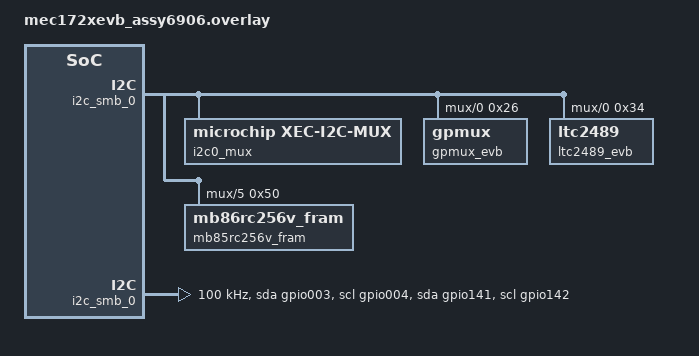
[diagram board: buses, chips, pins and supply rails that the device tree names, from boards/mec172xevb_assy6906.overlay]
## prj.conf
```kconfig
# Enable config log
CONFIG_STDOUT_CONSOLE=y
CONFIG_LOG=y

CONFIG_I2C=y

CONFIG_PM=n

# Zephyr debug disables optimizations
CONFIG_DEBUG=y
```

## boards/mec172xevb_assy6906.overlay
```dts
/*
 * Example device tree overlay for XEC I2C internal port mux.
 *
 * This overlay demonstrates how to configure the XEC SMB controller's
 * internal PORT_SEL multiplexer using the Zephyr I2C mux subsystem.
 *
 * Each mux_portN child node becomes a standard I2C bus device that
 * applications reference via DEVICE_DT_GET() or I2C_DT_SPEC_GET().
 */

/* Parent XEC I2C controller (SMB0) */
&i2c_smb_0 {
	compatible = "microchip,xec-i2c-v2";
	status = "okay";
	clock-frequency = <100000>;
	port-sel = <2>;

	/* MEC172x has v3.7 I2C controller. It does not support live view of SCL/SDA pin states.
	 * The driver requires phandles to the GPIO pins for SCL and SDA.
	 * PINCTRL driver enables input pad when configuring a pin for alternate function.
	 * I2C driver makes calls to the GPIO driver to read live pin input state.
	 * NOTE, these two pins should match the controller port-sel value.
	 * The MUX driver passes its SCL/SDA handles to the I2C driver.
	 */
	/*
	sda-gpios = <MCHP_GPIO_DECODE_003 GPIO_OPEN_DRAIN>;
	scl-gpios = <MCHP_GPIO_DECODE_004 GPIO_OPEN_DRAIN>;
	*/
	sda-gpios = <MCHP_GPIO_DECODE_154 GPIO_OPEN_DRAIN>;
	scl-gpios = <MCHP_GPIO_DECODE_155 GPIO_OPEN_DRAIN>;

	pinctrl-0 = <&i2c00_sda_gpio003 &i2c00_scl_gpio004
		     &i2c05_sda_gpio141 &i2c05_scl_gpio142>;
	pinctrl-names = "default";
};

/ {
	/* Internal port mux on SMB0 */
	i2c0_mux: i2c-mux {
		compatible = "microchip,xec-i2c-mux";
		i2c-parent = <&i2c_smb_0>;
		#address-cells = <1>;
		#size-cells = <0>;

		/*
		 * Port 0: 100 KHz inherits parent clock speed
		 * Devices on physical bus port 0
		 */
		mux_port0: i2c@0 {
			reg = <0>;
			#address-cells = <1>;
			#size-cells = <0>;
			sda-gpios = <MCHP_GPIO_DECODE_003 GPIO_OPEN_DRAIN>;
			scl-gpios = <MCHP_GPIO_DECODE_004 GPIO_OPEN_DRAIN>;

			gpmux_evb: gpmux@26 {
				/* compatible = "nxp,pca9555"; */
				reg = <0x26>;
				/* ngpios = <16>; */
				/* gpio-controller; */
				/* #gpio-cells = <2>; */
			};

			ltc2489_evb: ltc2489@34 {
				reg = <0x34>;
				#io-channels-cells = <1>;
			};
		};

		/*
		 * Port 5: 400 KHz
		 * Devices on physical bus port 5
		 */
		mux_port5: i2c@5 {
			reg = <5>;
			#address-cells = <1>;
			#size-cells = <0>;
			sda-gpios = <MCHP_GPIO_DECODE_141 GPIO_OPEN_DRAIN>;
			scl-gpios = <MCHP_GPIO_DECODE_142 GPIO_OPEN_DRAIN>;
			clock-frequency = <400000>;

			mb85rc256v_fram: mb86rc256v_fram@50 {
				/* compatible = "fujitsu,mb85rcxx"; */
				reg = <0x50>;
				/* address-width = <16>; */
				/* size = <32768>; */
			};
		};
	};
};

/* I2C Port 0 */
&i2c00_sda_gpio003 {
	drive-open-drain;
	output-enable;
	output-high;
	drive-strength = <2>;
};

&i2c00_scl_gpio004 {
	drive-open-drain;
	output-enable;
	output-high;
	drive-strength = <2>;
};

/* I2C Port 5 */
&i2c05_sda_gpio141 {
	drive-open-drain;
	output-enable;
	output-high;
	drive-strength = <2>;
};
&i2c05_scl_gpio142 {
	drive-open-drain;
	output-enable;
	output-high;
	drive-strength = <2>;
};
```

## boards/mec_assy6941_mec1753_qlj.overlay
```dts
/*
 * Example device tree overlay for XEC I2C internal port mux.
 *
 * This overlay demonstrates how to configure the XEC SMB controller's
 * internal PORT_SEL multiplexer using the Zephyr I2C mux subsystem.
 *
 * Each mux_portN child node becomes a standard I2C bus device that
 * applications reference via DEVICE_DT_GET() or I2C_DT_SPEC_GET().
 */

/* Parent XEC I2C controller (SMB0) */
&i2c_smb_0 {
	compatible = "microchip,xec-i2c-v2";
	status = "okay";
	clock-frequency = <100000>;
	port-sel = <0>;

	/* MEC175x has v3.8 I2C hardware with live pin view.
	 * GPIO handles for SDA/SCAL are not required.
	 */
	pinctrl-0 = <&i2c00_sda_gpio003 &i2c00_scl_gpio004
		     &i2c05_sda_gpio141 &i2c05_scl_gpio142>;
	pinctrl-names = "default";
};

/ {
	/* Internal port mux on SMB0 */
	i2c0_mux: i2c-mux {
		compatible = "microchip,xec-i2c-mux";
		i2c-parent = <&i2c_smb_0>;
		#address-cells = <1>;
		#size-cells = <0>;

		/*
		 * Port 0: 100 KHz inherits parent clock speed
		 * Devices on physical bus port 0
		 */
		mux_port0: i2c@0 {
			reg = <0>;
			#address-cells = <1>;
			#size-cells = <0>;

			gpmux_evb: gpmux@26 {
				/* compatible = "nxp,pca9555"; */
				reg = <0x26>;
				/* ngpios = <16>; */
				/* gpio-controller; */
				/* #gpio-cells = <2>; */
			};

			ltc2489_evb: ltc2489@34 {
				reg = <0x34>;
				#io-channels-cells = <1>;
			};
		};

		/*
		 * Port 5: 400 KHz
		 * Devices on physical bus port 5
		 */
		mux_port5: i2c@5 {
			reg = <5>;
			#address-cells = <1>;
			#size-cells = <0>;
			clock-frequency = <400000>;

			mb85rc256v_fram: mb86rc256v_fram@50 {
				/* compatible = "fujitsu,mb85rcxx"; */
				reg = <0x50>;
				/* address-width = <16>; */
				/* size = <32768>; */
			};
		};
	};
};

/* I2C Port 0 */
&i2c00_sda_gpio003 {
	drive-open-drain;
	output-enable;
	output-high;
	drive-strength = <2>;
};

&i2c00_scl_gpio004 {
	drive-open-drain;
	output-enable;
	output-high;
	drive-strength = <2>;
};

/* I2C Port 5 */
&i2c05_sda_gpio141 {
	drive-open-drain;
	output-enable;
	output-high;
	drive-strength = <2>;
};
&i2c05_scl_gpio142 {
	drive-open-drain;
	output-enable;
	output-high;
	drive-strength = <2>;
};
```

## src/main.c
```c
/*
 * Copyright (c) 2026 Microchip Technology Inc.
 *
 * Example application code demonstrating XEC I2C internal port mux usage.
 *
 * Applications use ONLY standard Zephyr I2C APIs. Port switching is
 * completely transparent - the mux driver handles it automatically.
 */

#include <zephyr/kernel.h>
#include <zephyr/device.h>
#include <zephyr/drivers/eeprom.h>
#include <zephyr/drivers/i2c.h>
#include <zephyr/drivers/i2c/i2c_mchp_xec.h>
#include <zephyr/logging/log.h>
#include <zephyr/logging/log_ctrl.h>
LOG_MODULE_REGISTER(app, CONFIG_LOG_DEFAULT_LEVEL);

#define PCA9555_CMD_PORT0_IN  0
#define PCA9555_CMD_PORT1_IN  1u
#define PCA9555_CMD_PORT0_OUT 2u
#define PCA9555_CMD_PORT1_OUT 3u
#define PCA9555_CMD_PORT0_POL 4u
#define PCA9555_CMD_PORT1_POL 5u
#define PCA9555_CMD_PORT0_CFG 6u
#define PCA9555_CMD_PORT1_CFG 7u

/* Get device handles for each mux channel (port).
 * Each of these is a standard Zephyr I2C bus device.
 */
static const struct device *i2c_port0 = DEVICE_DT_GET(DT_NODELABEL(mux_port0));
static const struct device *i2c_port5 = DEVICE_DT_GET(DT_NODELABEL(mux_port5));

/* Or use I2C_DT_SPEC_GET for device-tree-specified addresses */
static const struct i2c_dt_spec gpio_mux = I2C_DT_SPEC_GET(DT_NODELABEL(gpmux_evb));
static const struct i2c_dt_spec adc_evb = I2C_DT_SPEC_GET(DT_NODELABEL(ltc2489_evb));
static const struct i2c_dt_spec fram = I2C_DT_SPEC_GET(DT_NODELABEL(mb85rc256v_fram));

#define FRAM_TEST_ADDR 0x4321U

#define TX_BUF_LEN 256U
#define RX_BUF_LEN 256U

uint8_t tx_buf[TX_BUF_LEN];
uint8_t rx_buf[RX_BUF_LEN];

int main(void)
{
	int ret = 0;
	uint8_t port = 0;

	LOG_INF("I2C Port switch sample");

	memset(tx_buf, 0x55, sizeof(tx_buf));
	memset(rx_buf, 0xAA, sizeof(rx_buf));

	/* Verify all ports are ready */
	if (!device_is_ready(i2c_port0) || !device_is_ready(i2c_port5)) {
		printk("I2C mux ports not ready\n");
		return -1;
	}

	/*
	 * Write to FRAM on port 5 at 400 KHz.
	 * The mux driver transparently:
	 *   1. Acquires mutex
	 *   2. Switches to port 5 (resets controller, programs PORT_SEL=5, timing=400K)
	 *   3. Calls i2c_transfer() on parent controller
	 *   4. Releases mutex
	 */
	tx_buf[0] = (uint8_t)((FRAM_TEST_ADDR) >> 8); /* 16-bit address bits[15:8] */
	tx_buf[1] = (uint8_t)(FRAM_TEST_ADDR); /* 16-bit address bits[7:0] */
	tx_buf[2] = 0x11; /* data byte 0 */
	tx_buf[3] = 0x12; /* data byte 1 */
	tx_buf[4] = 0x13; /* data byte 2 */
	tx_buf[5] = 0x14; /* data byte 3 */

	ret = i2c_write_dt(&fram, tx_buf, 6);
	if (ret != 0) {
		LOG_ERR("FRAM write failed: %d", ret);
	}

	LOG_ERR("Get I2C port from controller FRAM is connected to");
	port = 0xffU;
	ret = i2c_xec_v2_get_port(fram.bus, &port);
	if (ret == 0) {
		LOG_ERR("Get I2C port = %u", port);
	} else {
		LOG_ERR("Get I2C port error (%d)", ret);
	}

	tx_buf[0] = (uint8_t)((FRAM_TEST_ADDR) >> 8); /* 16-bit address bits[15:8] */
	tx_buf[1] = (uint8_t)(FRAM_TEST_ADDR); /* 16-bit address bits[7:0] */

	/* Read data back and verify */
	ret = i2c_write_read_dt(&fram, tx_buf, 2, rx_buf, 4);
	if (ret != 0) {
		LOG_ERR("FRAM write-read failed: %d", ret);
	}

	ret = memcmp(&tx_buf[2], rx_buf, 4);
	if (ret != 0) {
		LOG_ERR("FRAM read data mismatch!");
	}

	log_flush();

	memset(tx_buf, 0x55, sizeof(tx_buf));
	memset(rx_buf, 0xAA, sizeof(rx_buf));

	tx_buf[0] = PCA9555_CMD_PORT0_IN; /* command */

	/*
	 * Read PCA9555 GPIO Mux on I2C Port 0 at 100KHz
	 * Port switch happens automatically (controller reset + reconfigure).
	 */
	ret = i2c_write_read_dt(&gpio_mux, tx_buf, 1, rx_buf, 2);
	if (ret != 0) {
		LOG_ERR("PCA9555 read failed: %d", ret);
	} else {
		LOG_INF("PCA9555 P0=0x%02x P1=0x%02x", rx_buf[0], rx_buf[1]);
	}

	log_flush();

#if 0
	/*
	 * Read from device on port 10 (inherits 400 KHz from parent).
	 * Another port switch happens.
	 */
	uint8_t reg_addr = 0x0F;  /* WHO_AM_I register */
	uint8_t who_am_i;

	ret = i2c_write_read(i2c_port10, 0x19, &reg_addr, 1, &who_am_i, 1);
	if (ret != 0) {
		printk("Accel read failed: %d\n", ret);
	}

	/*
	 * Back to port 0 - the mux driver caches the last selected port.
	 * If we already had port 0/400KHz active, this would skip the reset.
	 * Since we just used port 10, a reset+reconfigure occurs.
	 */
	ret = i2c_write_dt(&eeprom, tx_buf, sizeof(tx_buf));

	/*
	 * Another write to the same EEPROM - same port 0/400KHz.
	 * The mux driver detects port+speed match and SKIPS the reset.
	 * This is the fast path with zero switching overhead.
	 */
	tx_buf[0] = 0x01;
	tx_buf[1] = 0xCD;
	ret = i2c_write_dt(&eeprom, tx_buf, sizeof(tx_buf));
#endif

	LOG_INF("App done");

	return 0;
}
```
